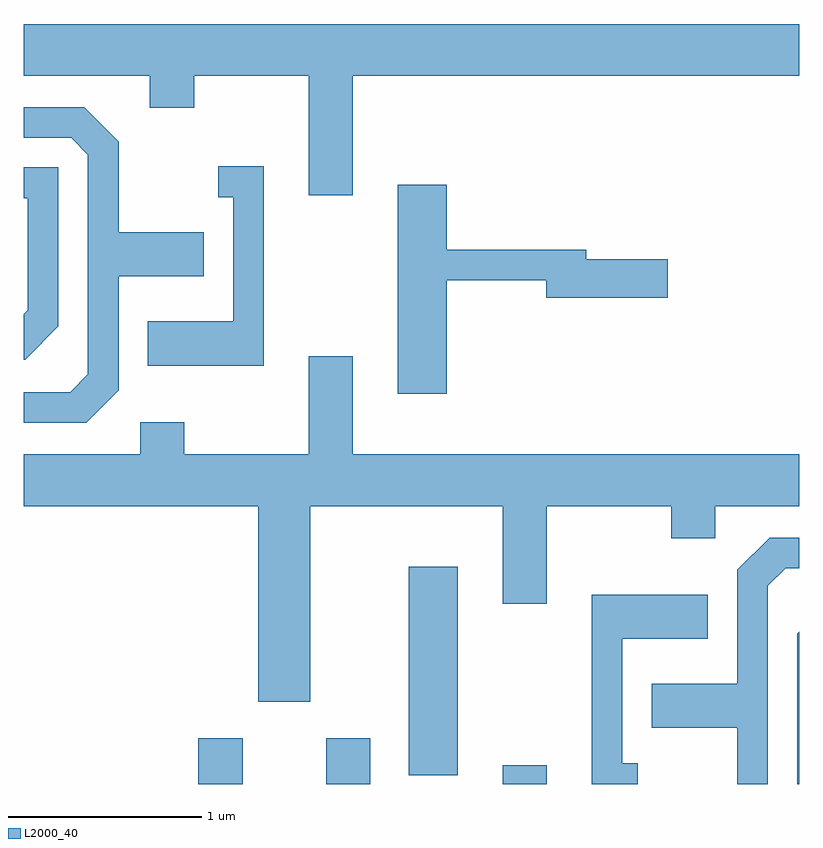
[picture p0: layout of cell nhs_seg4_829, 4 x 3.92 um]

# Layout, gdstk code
import gdstk
lib = gdstk.Library(unit=1e-6, precision=1e-09)
def R(c, l, rs):  # rectangles x0, y0, x1, y1
    for r in rs: c.add(gdstk.rectangle(r[:2], r[2:], *l))
def P(c, l, *ps):  # polygons
    for p in ps: c.add(gdstk.Polygon(p, *l))
L2000_40 = (2000, 40)

nhs_seg4_829 = lib.new_cell('nhs_seg4_829')
R(nhs_seg4_829, L2000_40, [(210.511,1279.982,210.739,1280.219), (211.171,1279.982,211.399,1280.219), (212.081,1279.982,212.309,1280.079), (211.596,1280.026,211.849,1281.104)])
P(nhs_seg4_829, L2000_40, [(211.309,1283.636),(213.611,1283.636),(213.611,1283.904),(209.611,1283.904),(209.611,1283.636),(210.261,1283.636),(210.261,1283.471),(210.489,1283.471),(210.489,1283.636),(211.081,1283.636),(211.081,1283.021),(211.309,1283.021)],
  [(210.099,1282.014),(210.099,1282.601),(210.539,1282.601),(210.539,1282.829),(210.099,1282.829),(210.099,1283.297),(209.922,1283.474),(209.611,1283.474),(209.611,1283.316),(209.854,1283.316),(209.941,1283.229),(209.941,1282.097),(209.849,1282.004),(209.611,1282.004),(209.611,1281.846),(209.932,1281.846)],
  [(210.849,1283.169),(210.613,1283.169),(210.613,1283.011),(210.691,1283.011),(210.691,1282.369),(210.251,1282.369),(210.251,1282.141),(210.849,1282.141)],
  [(209.789,1282.344),(209.789,1283.164),(209.611,1283.164),(209.611,1283.006),(209.631,1283.006),(209.631,1282.427),(209.611,1282.407),(209.611,1282.171),(209.617,1282.171)],
  [(211.794,1282.581),(212.306,1282.581),(212.306,1282.491),(212.934,1282.491),(212.934,1282.689),(212.514,1282.689),(212.514,1282.739),(211.794,1282.739),(211.794,1283.074),(211.541,1283.074),(211.541,1281.996),(211.794,1281.996)],
  [(211.089,1281.416),(212.081,1281.416),(212.081,1280.911),(212.309,1280.911),(212.309,1281.416),(212.951,1281.416),(212.951,1281.251),(213.179,1281.251),(213.179,1281.416),(213.611,1281.416),(213.611,1281.684),(211.309,1281.684),(211.309,1282.189),(211.081,1282.189),(211.081,1281.684),(210.439,1281.684),(210.439,1281.849),(210.211,1281.849),(210.211,1281.684),(209.611,1281.684),(209.611,1281.416),(210.821,1281.416),(210.821,1280.406),(211.089,1280.406)],
  [(213.449,1281.004),(213.542,1281.096),(213.611,1281.096),(213.611,1281.254),(213.459,1281.254),(213.291,1281.087),(213.291,1280.499),(212.851,1280.499),(212.851,1280.271),(213.291,1280.271),(213.291,1279.982),(213.449,1279.982)],
  [(212.778,1280.089),(212.699,1280.089),(212.699,1280.731),(213.139,1280.731),(213.139,1280.959),(212.541,1280.959),(212.541,1279.982),(212.778,1279.982)],
  [(213.611,1280.767),(213.601,1280.757),(213.601,1279.982),(213.611,1279.982)])

lib.write_gds('nhs_seg4_829.gds')
